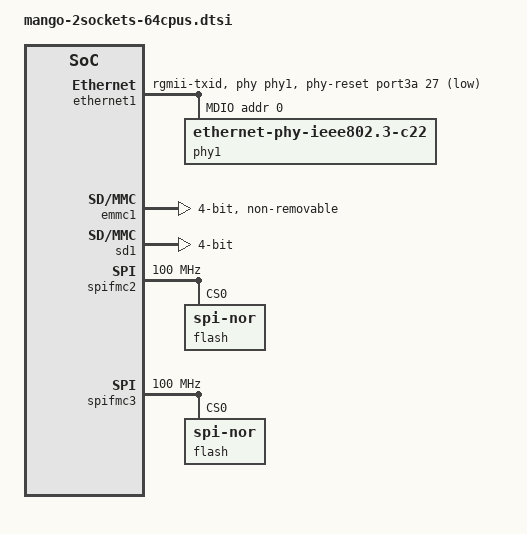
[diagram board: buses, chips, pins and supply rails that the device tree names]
#include "mango.dtsi"
#include "mango-clock-socket1.dtsi"

/ {
	/delete-node/ distance-map;
	distance-map {
		compatible = "numa-distance-map-v1";
		distance-matrix = <0 0 10>,	//chip0
				  <0 1 15>,
				  <0 2 25>,
				  <0 3 30>,
				  <0 4 110>,
				  <0 5 115>,
				  <0 6 125>,
				  <0 7 130>,
				  <1 0 15>,
				  <1 1 10>,
				  <1 2 30>,
				  <1 3 25>,
				  <1 4 115>,
				  <1 5 110>,
				  <1 6 130>,
				  <1 7 125>,
				  <2 0 25>,
				  <2 1 30>,
				  <2 2 10>,
				  <2 3 15>,
				  <2 4 125>,
				  <2 5 130>,
				  <2 6 110>,
				  <2 7 115>,
				  <3 0 30>,
				  <3 1 25>,
				  <3 2 15>,
				  <3 3 10>,
				  <3 4 130>,
				  <3 5 125>,
				  <3 6 115>,
				  <3 7 110>,
				  <4 0 110>,	//chip1
				  <4 1 115>,
				  <4 2 125>,
				  <4 3 130>,
				  <4 4 10>,
				  <4 5 15>,
				  <4 6 25>,
				  <4 7 30>,
				  <5 0 115>,
				  <5 1 110>,
				  <5 2 130>,
				  <5 3 125>,
				  <5 4 15>,
				  <5 5 10>,
				  <5 6 30>,
				  <5 7 25>,
				  <6 0 125>,
				  <6 1 130>,
				  <6 2 110>,
				  <6 3 115>,
				  <6 4 25>,
				  <6 5 30>,
				  <6 6 10>,
				  <6 7 15>,
				  <7 0 130>,
				  <7 1 125>,
				  <7 2 115>,
				  <7 3 110>,
				  <7 4 30>,
				  <7 5 25>,
				  <7 6 15>,
				  <7 7 10>;
	};

	/* the mem node will be updated by ZSBL. */
	/* chip 1 */
	memory@4 {
		device_type = "memory";
		reg = <0x00000000 0x00000004 0x00000000 0x00000000>;
		numa-node-id = <4>;
	};
	memory@5 {
		device_type = "memory";
		reg = <0x00000000 0x00000005 0x00000000 0x00000000>;
		numa-node-id = <5>;
	};
	memory@6 {
		device_type = "memory";
		reg = <0x00000000 0x00000006 0x00000000 0x00000000>;
		numa-node-id = <6>;
	};
	memory@7 {
		device_type = "memory";
		reg = <0x00000000 0x00000007 0x00000000 0x00000000>;
		numa-node-id = <7>;
	};

	soc {
		/delete-node/ interrupt-controller@7090000000;
		intc: interrupt-controller@7090000000 {
			#address-cells = <0>;
			#interrupt-cells = <2>;
			compatible = "thead,c900-plic";
			interrupt-controller;
			interrupts-extended = <
				&cpu0_intc  0xffffffff &cpu0_intc  9
				&cpu1_intc  0xffffffff &cpu1_intc  9
				&cpu2_intc  0xffffffff &cpu2_intc  9
				&cpu3_intc  0xffffffff &cpu3_intc  9
				&cpu4_intc  0xffffffff &cpu4_intc  9
				&cpu5_intc  0xffffffff &cpu5_intc  9
				&cpu6_intc  0xffffffff &cpu6_intc  9
				&cpu7_intc  0xffffffff &cpu7_intc  9
				&cpu8_intc  0xffffffff &cpu8_intc  9
				&cpu9_intc  0xffffffff &cpu9_intc  9
				&cpu10_intc  0xffffffff &cpu10_intc  9
				&cpu11_intc  0xffffffff &cpu11_intc  9
				&cpu12_intc  0xffffffff &cpu12_intc  9
				&cpu13_intc  0xffffffff &cpu13_intc  9
				&cpu14_intc  0xffffffff &cpu14_intc  9
				&cpu15_intc  0xffffffff &cpu15_intc  9
				&cpu16_intc  0xffffffff &cpu16_intc  9
				&cpu17_intc  0xffffffff &cpu17_intc  9
				&cpu18_intc  0xffffffff &cpu18_intc  9
				&cpu19_intc  0xffffffff &cpu19_intc  9
				&cpu20_intc  0xffffffff &cpu20_intc  9
				&cpu21_intc  0xffffffff &cpu21_intc  9
				&cpu22_intc  0xffffffff &cpu22_intc  9
				&cpu23_intc  0xffffffff &cpu23_intc  9
				&cpu24_intc  0xffffffff &cpu24_intc  9
				&cpu25_intc  0xffffffff &cpu25_intc  9
				&cpu26_intc  0xffffffff &cpu26_intc  9
				&cpu27_intc  0xffffffff &cpu27_intc  9
				&cpu28_intc  0xffffffff &cpu28_intc  9
				&cpu29_intc  0xffffffff &cpu29_intc  9
				&cpu30_intc  0xffffffff &cpu30_intc  9
				&cpu31_intc  0xffffffff &cpu31_intc  9
				&cpu32_intc  0xffffffff &cpu32_intc  9
				&cpu33_intc  0xffffffff &cpu33_intc  9
				&cpu34_intc  0xffffffff &cpu34_intc  9
				&cpu35_intc  0xffffffff &cpu35_intc  9
				&cpu36_intc  0xffffffff &cpu36_intc  9
				&cpu37_intc  0xffffffff &cpu37_intc  9
				&cpu38_intc  0xffffffff &cpu38_intc  9
				&cpu39_intc  0xffffffff &cpu39_intc  9
				&cpu40_intc  0xffffffff &cpu40_intc  9
				&cpu41_intc  0xffffffff &cpu41_intc  9
				&cpu42_intc  0xffffffff &cpu42_intc  9
				&cpu43_intc  0xffffffff &cpu43_intc  9
				&cpu44_intc  0xffffffff &cpu44_intc  9
				&cpu45_intc  0xffffffff &cpu45_intc  9
				&cpu46_intc  0xffffffff &cpu46_intc  9
				&cpu47_intc  0xffffffff &cpu47_intc  9
				&cpu48_intc  0xffffffff &cpu48_intc  9
				&cpu49_intc  0xffffffff &cpu49_intc  9
				&cpu50_intc  0xffffffff &cpu50_intc  9
				&cpu51_intc  0xffffffff &cpu51_intc  9
				&cpu52_intc  0xffffffff &cpu52_intc  9
				&cpu53_intc  0xffffffff &cpu53_intc  9
				&cpu54_intc  0xffffffff &cpu54_intc  9
				&cpu55_intc  0xffffffff &cpu55_intc  9
				&cpu56_intc  0xffffffff &cpu56_intc  9
				&cpu57_intc  0xffffffff &cpu57_intc  9
				&cpu58_intc  0xffffffff &cpu58_intc  9
				&cpu59_intc  0xffffffff &cpu59_intc  9
				&cpu60_intc  0xffffffff &cpu60_intc  9
				&cpu61_intc  0xffffffff &cpu61_intc  9
				&cpu62_intc  0xffffffff &cpu62_intc  9
				&cpu63_intc  0xffffffff &cpu63_intc  9
				>;
			reg = <0x00000070 0x90000000 0x00000000 0x04000000>;
			reg-names = "control";
			riscv,max-priority = <7>;
			riscv,ndev = <448>;
		};

		top1_misc: top_misc_ctrl@f030010000 {
			compatible = "syscon";
			reg = <0xf0 0x30010000 0x0 0x8000>;
		};

		rst1: reset1-controller {
			#reset-cells = <1>;
			compatible = "bitmain,reset";
			subctrl-syscon = <&top1_misc>;
			top_rst_offset = <0x3000>;
			nr_resets = <RST_MAX_NUM>;
		};

		gpio3: gpio@f030009000 {
			compatible = "snps,dw-apb-gpio";
			reg = <0xf0 0x30009000 0x0 0x400>;
			#address-cells = <1>;
			#size-cells = <0>;
			clocks = <&s1_div_clk GATE_CLK_APB_GPIO>,
				 <&s1_div_clk GATE_CLK_APB_GPIO_INTR>,
				 <&s1_div_clk GATE_CLK_GPIO_DB>;
			clock-names = "base_clk", "intr_clk", "db_clk";

			port3a: gpio-controller@0 {
				compatible = "snps,dw-apb-gpio-port";
				bank-name = "port0a";
				gpio-controller;
				#gpio-cells = <2>;
				snps,nr-gpios = <32>;
				reg = <0>;
				interrupt-controller;
				#interrupt-cells = <2>;
				interrupt-parent = <&intc>;
				interrupts = <SOC_PERIPHERAL_IRQ(320) IRQ_TYPE_LEVEL_HIGH>;
			};
		};

		ethernet1: ethernet@f040026000 {
			compatible = "bitmain,ethernet";
			reg = <0xf0 0x40026000 0x0 0x4000>;
			interrupt-parent = <&intc>;
			interrupts = <SOC_PERIPHERAL_IRQ(356) IRQ_TYPE_LEVEL_HIGH>;
			interrupt-names = "macirq";
			clock-names = "clk_tx", "gate_clk_tx", "stmmaceth", "ptp_ref", "gate_clk_ref";
			clocks = <&s1_div_clk DIV_CLK_FPLL_TX_ETH0>,
				   <&s1_div_clk GATE_CLK_TX_ETH0>,
				   <&s1_div_clk GATE_CLK_AXI_ETH0>,
				   <&s1_div_clk GATE_CLK_PTP_REF_I_ETH0>,
				   <&s1_div_clk GATE_CLK_REF_ETH0>;

			/* no hash filter and perfect filter support */
			snps,multicast-filter-bins = <0>;
			snps,perfect-filter-entries = <1>;

			snps,txpbl = <32>;
			snps,rxpbl = <32>;
			snps,aal;

			snps,axi-config = <&stmmac_axi_setup>;
			snps,mtl-rx-config = <&mtl_rx_setup>;
			snps,mtl-tx-config = <&mtl_tx_setup>;

			phy-mode = "rgmii-txid";
			phy-reset-gpios = <&port3a 27 0>;
			phy-handle = <&phy1>;
			mdio {
				#address-cells = <0x1>;
				#size-cells = <0x0>;
				compatible = "snps,dwmac-mdio";
				phy1: phy@0 {
					compatible = "ethernet-phy-ieee802.3-c22";
					device_type = "ethernet-phy";
					reg = <0x0>;
				};
			};
		};

		emmc1: bm-emmc@f04002A000 {
			compatible = "bitmain,bm-emmc";
			reg = <0xf0 0x4002A000 0x0 0x1000>;
			reg-names = "core_mem";
			interrupt-parent = <&intc>;
			interrupts = <SOC_PERIPHERAL_IRQ(358) IRQ_TYPE_LEVEL_HIGH>;
			bus-width = <4>;
			non-removable;
			no-sdio;
			no-sd;
			resets = <&rst1 RST_EMMC>;
			reset-names = "emmc";
			clocks =
				<&s1_div_clk GATE_CLK_EMMC_100M>,
				<&s1_div_clk GATE_CLK_AXI_EMMC>,
				<&s1_div_clk GATE_CLK_100K_EMMC>;
			clock-names =
				"clk_gate_emmc",
				"clk_gate_axi_emmc",
				"clk_gate_100k_emmc";
		};

		sd1: bm-sd@f04002B000 {
			compatible = "bitmain,bm-sd";
			reg = <0xf0 0x4002B000 0x0 0x1000>;
			reg-names = "core_mem";
			interrupt-parent = <&intc>;
			interrupts = <SOC_PERIPHERAL_IRQ(360) IRQ_TYPE_LEVEL_HIGH>;
			bus-width = <4>;
			no-sdio;
			no-mmc;
			resets = <&rst1 RST_SD>;
			reset-names = "sdio";
			clocks =
				<&s1_div_clk GATE_CLK_SD_100M>,
				<&s1_div_clk GATE_CLK_AXI_SD>,
				<&s1_div_clk GATE_CLK_100K_SD>;
			clock-names =
				"clk_gate_sd",
				"clk_gate_axi_sd",
				"clk_gate_100k_sd";
		};
	};

	spifmc2: flash-controller@f000180000 {
		compatible = "sophgo,spifmc";
		reg = <0xf0 0x00180000 0x0 0x1000000>;
		reg-names = "memory";
		#address-cells = <1>;
		#size-cells = <0>;
		interrupt-parent = <&intc>;
		interrupts = <SOC_PERIPHERAL_IRQ(332) IRQ_TYPE_LEVEL_HIGH>;
		clock-frequency = <100000000>;
		clocks = <&s1_div_clk GATE_CLK_AHB_SF>;
		flash@0 {
			reg = <0>;
			compatible = "jedec,spi-nor";
		};
	};

	spifmc3: flash-controller@f002180000 {
		compatible = "sophgo,spifmc";
		reg = <0xf0 0x02180000 0x0 0x1000000>;
		reg-names = "memory";
		#address-cells = <1>;
		#size-cells = <0>;
		interrupt-parent = <&intc>;
		interrupts = <SOC_PERIPHERAL_IRQ(333) IRQ_TYPE_LEVEL_HIGH>;
		clock-frequency = <100000000>;
		clocks = <&s1_div_clk GATE_CLK_AHB_SF>;
		flash@0 {
			reg = <0>;
			compatible = "jedec,spi-nor";
		};
	};

	aliases {
	        serial0 = &uart0;
	        ethernet0 = &ethernet0;
	        ethernet1 = &ethernet1;
	};
};
